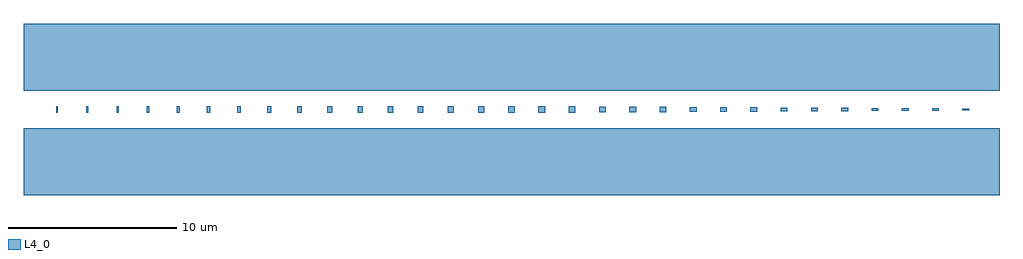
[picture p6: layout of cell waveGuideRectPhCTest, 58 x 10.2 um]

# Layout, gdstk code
import gdstk
lib = gdstk.Library(unit=1e-6, precision=1e-09)
def R(c, l, rs):  # rectangles x0, y0, x1, y1
    for r in rs: c.add(gdstk.rectangle(r[:2], r[2:], *l))
L4_0 = (4, 0)

waveguiderectphctest = lib.new_cell('waveGuideRectPhCTest')
R(waveguiderectphctest, L4_0, [(-29,-5.1,29,-1.1), (-27.05,-0.2,-26.95,0.2), (-25.26,-0.2,-25.14,0.2), (-23.47,-0.2,-23.33,0.2), (-21.68,-0.2,-21.52,0.2), (-19.89,-0.2,-19.71,0.2), (-18.1,-0.2,-17.9,0.2), (-16.31,-0.2,-16.09,0.2), (-14.52,-0.2,-14.28,0.2), (-12.73,-0.2,-12.47,0.2), (-10.94,-0.2,-10.66,0.2), (-9.15,-0.2,-8.85,0.2), (-7.36,-0.2,-7.04,0.2), (-5.57,-0.2,-5.23,0.2), (-3.78,-0.2,-3.42,0.2), (-1.99,-0.2,-1.61,0.2), (-0.2,-0.2,0.2,0.2), (1.6,-0.19,2,0.19), (3.4,-0.18,3.8,0.18), (5.2,-0.17,5.6,0.17), (7,-0.16,7.4,0.16), (8.8,-0.15,9.2,0.15), (10.6,-0.14,11,0.14), (12.4,-0.13,12.8,0.13), (14.2,-0.12,14.6,0.12), (16,-0.11,16.4,0.11), (17.8,-0.1,18.2,0.1), (19.6,-0.09,20,0.09), (21.4,-0.08,21.8,0.08), (23.2,-0.07,23.6,0.07), (25,-0.06,25.4,0.06), (26.8,-0.05,27.2,0.05), (-29,1.1,29,5.1)])

lib.write_gds('waveGuideRectPhCTest.gds')
